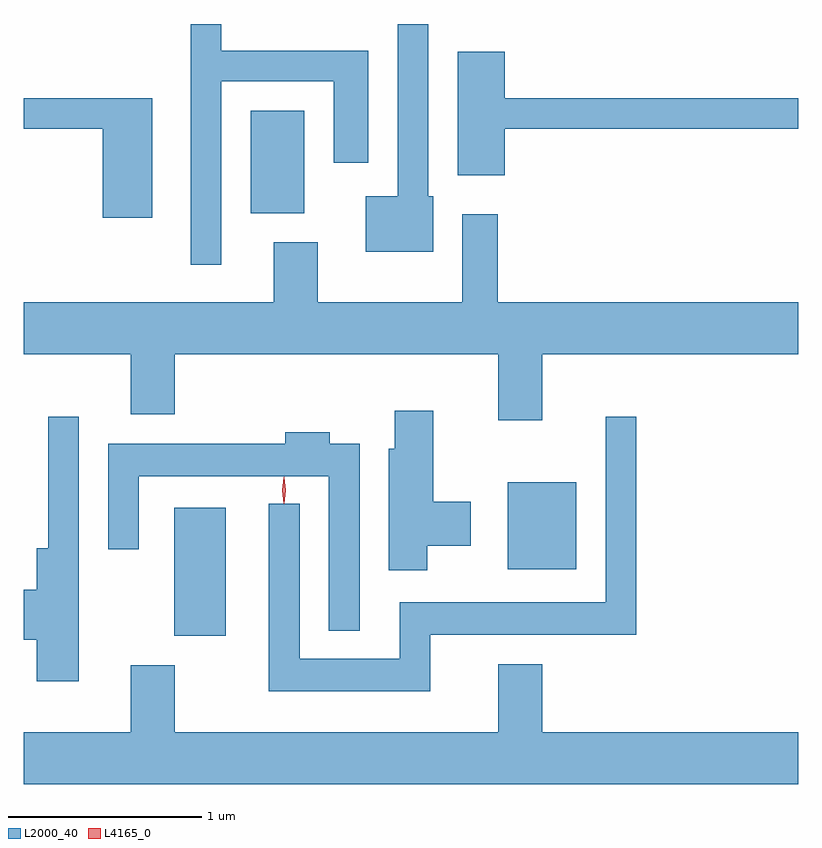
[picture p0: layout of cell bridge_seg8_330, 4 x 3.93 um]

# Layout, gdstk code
import gdstk
lib = gdstk.Library(unit=1e-6, precision=1e-09)
def R(c, l, rs):  # rectangles x0, y0, x1, y1
    for r in rs: c.add(gdstk.rectangle(r[:2], r[2:], *l))
def P(c, l, *ps):  # polygons
    for p in ps: c.add(gdstk.Polygon(p, *l))
L2000_40 = (2000, 40)
L4165_0 = (4165, 0)

bridge_seg8_330 = lib.new_cell('bridge_seg8_330')
R(bridge_seg8_330, L2000_40, [(936.026,1928.201,936.294,1928.864), (937.751,1928.546,938.104,1928.994), (936.421,1930.386,936.699,1930.914)])
P(bridge_seg8_330, L2000_40, [(937.364,1930.474),(937.339,1930.474),(937.339,1931.363),(937.181,1931.363),(937.181,1930.474),(937.016,1930.474),(937.016,1930.186),(937.364,1930.186)],
  [(936.269,1931.066),(936.851,1931.066),(936.851,1930.646),(937.029,1930.646),(937.029,1931.224),(936.269,1931.224),(936.269,1931.363),(936.111,1931.363),(936.111,1930.118),(936.269,1930.118)],
  [(937.734,1930.821),(939.25,1930.821),(939.25,1930.979),(937.734,1930.979),(937.734,1931.219),(937.491,1931.219),(937.491,1930.581),(937.734,1930.581)],
  [(935.914,1930.979),(935.25,1930.979),(935.25,1930.821),(935.656,1930.821),(935.656,1930.361),(935.914,1930.361)],
  [(937.929,1929.656),(939.25,1929.656),(939.25,1929.924),(937.699,1929.924),(937.699,1930.379),(937.516,1930.379),(937.516,1929.924),(936.769,1929.924),(936.769,1930.234),(936.541,1930.234),(936.541,1929.924),(935.25,1929.924),(935.25,1929.656),(935.801,1929.656),(935.801,1929.346),(936.029,1929.346),(936.029,1929.656),(937.701,1929.656),(937.701,1929.316),(937.929,1929.316)],
  [(937.334,1928.666),(937.559,1928.666),(937.559,1928.894),(937.364,1928.894),(937.364,1929.364),(937.166,1929.364),(937.166,1929.169),(937.136,1929.169),(937.136,1928.541),(937.334,1928.541)],
  [(937.349,1928.206),(938.414,1928.206),(938.414,1929.333),(938.256,1929.333),(938.256,1928.374),(937.191,1928.374),(937.191,1928.084),(936.674,1928.084),(936.674,1928.883),(936.516,1928.883),(936.516,1927.916),(937.349,1927.916)],
  [(935.534,1929.333),(935.376,1929.333),(935.376,1928.654),(935.316,1928.654),(935.316,1928.439),(935.25,1928.439),(935.25,1928.181),(935.316,1928.181),(935.316,1927.966),(935.534,1927.966)],
  [(936.984,1929.194),(936.829,1929.194),(936.829,1929.254),(936.601,1929.254),(936.601,1929.194),(935.686,1929.194),(935.686,1928.648),(935.844,1928.648),(935.844,1929.026),(936.826,1929.026),(936.826,1928.228),(936.984,1928.228)],
  [(939.25,1927.704),(937.929,1927.704),(937.929,1928.054),(937.701,1928.054),(937.701,1927.704),(936.029,1927.704),(936.029,1928.049),(935.801,1928.049),(935.801,1927.704),(935.25,1927.704),(935.25,1927.436),(939.25,1927.436)])
P(bridge_seg8_330, L4165_0, [(936.594,1928.887),(936.594,1928.887),(936.584,1928.954),(936.594,1929.02),(936.594,1929.02),(936.594,1929.02),(936.604,1928.954),(936.595,1928.887)],
  [(936.593,1928.884),(936.584,1928.953),(936.593,1929.022),(936.594,1929.023),(936.594,1929.022),(936.604,1928.953),(936.594,1928.884),(936.594,1928.884)])

lib.write_gds('bridge_seg8_330.gds')
